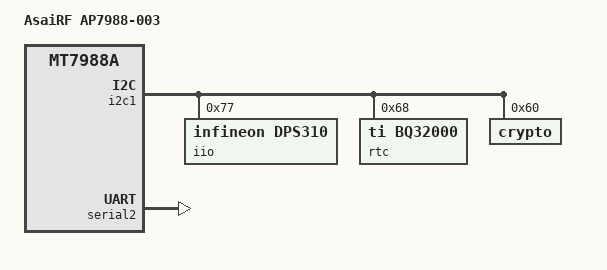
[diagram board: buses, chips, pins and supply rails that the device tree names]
// SPDX-License-Identifier: (GPL-2.0 OR MIT)
/*
 * Copyright (C) 2025 AsiaRF Co., Ltd.
 * Author: Elwin Huang <elwin@asiarf.com>
 */

/dts-v1/;
#include "mt7988a-asiarf-ap7988.dtsi"

/ {
	compatible = "asiarf,ap7988-003", "mediatek,mt7988a";
	model = "AsaiRF AP7988-003";
};

&i2c1 {
	iio@77 {
		compatible = "infineon,dps310";
		reg = <0x77>;
	};

	rtc@68 {
		compatible = "ti,bq32000";
		reg = <0x68>;
	};

	crypto@60 {
		// ATECC608A
		reg = <0x60>;
	};
};

&serial2 {
	status = "okay";
};
